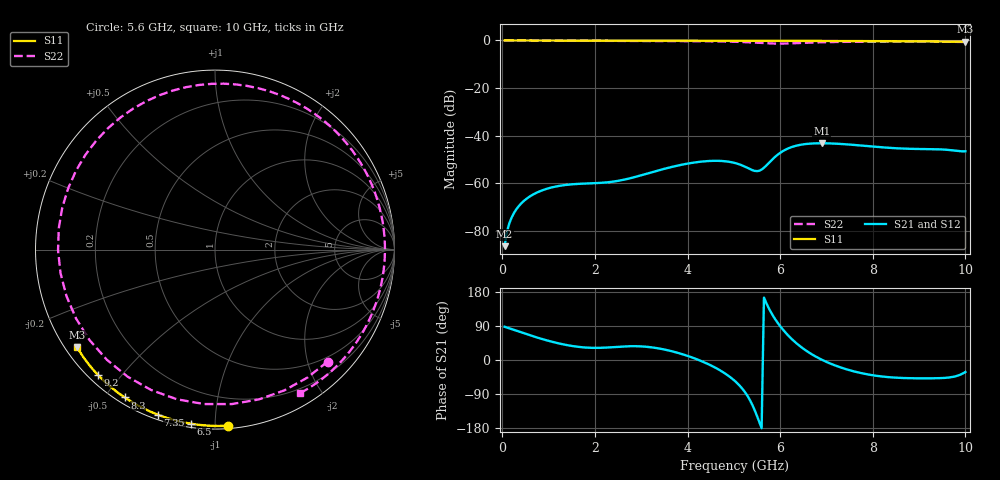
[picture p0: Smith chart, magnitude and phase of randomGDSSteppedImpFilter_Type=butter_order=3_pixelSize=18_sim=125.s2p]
! freq	dB(S11)	phase(S11)	dB(S12)	phase(S12)
!  dB(S21)	phase(S21)	dB(S22)	phase(S22)
!S-par simulation data
#  GHz  S  DB  R 50
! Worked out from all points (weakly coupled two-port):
!   200 points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, 50 MHz to 10 GHz, reference 50 ohm
!   highest |S21| = -43.21 dB at 6.9 GHz (marker M1); lowest = -86.5 dB at 50 MHz (marker M2)
!   lowest |S11| = -0.5 dB at 10 GHz (marker M3), VSWR 32.75, Z = 1.68 - j15.9 ohm
!   |S11| at or under -10 dB: nowhere
!   |S22| runs from -1.3 to 0.0 dB; largest |S21 - S12| = 0
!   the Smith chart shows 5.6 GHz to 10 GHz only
!   S11 on the Smith chart (normalised r, x): 5.6 GHz: 0.02, -1.08; 6.5 GHz: 0.02, -0.87; 7.35 GHz: 0.02, -0.71; 8.3 GHz: 0.02, -0.56; 9.2 GHz: 0.03, -0.43; 10 GHz: 0.03, -0.32
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0.05  -0.00 -0.8  -86.46 87.7  -86.46 87.7  -0.00 -3.5
0.35  -0.01 -5.8  -69.77 75.2  -69.77 75.2  -0.04 -24.2
0.65  -0.01 -10.7  -64.91 63.1  -64.91 63.1  -0.06 -44.4
1.2  -0.02 -19.6  -61.22 44.4  -61.22 44.4  -0.10 -79.9
1.75  -0.04 -28.4  -60.18 33.3  -60.18 33.3  -0.13 -112.8
2.6  -0.05 -41.8  -58.63 35.6  -58.63 35.6  -0.17 -159.9
3.4  -0.07 -54.0  -54.46 30.1  -54.46 30.1  -0.21 156.4
4.4  -0.10 -68.8  -50.74 -8.3  -50.74 -8.3  -0.33 93.6
5.05  -0.12 -78.0  -51.64 -58.4  -51.64 -58.4  -0.56 35.2
5.35  -0.13 -82.2  -54.08 -106.5  -54.08 -106.5  -0.79 -3.4
5.6  -0.14 -85.7  -54.26 -180.0  -54.26 -180.0  -1.06 -44.8
5.8  -0.15 -88.4  -50.60 126.3  -50.60 126.3  -1.25 -83.7
5.95  -0.16 -90.5  -47.97 97.5  -47.97 97.5  -1.32 -114.4
6.2  -0.17 -93.9  -45.15 61.4  -45.15 61.4  -1.24 -162.7
6.5  -0.18 -97.9  -43.66 29.9  -43.66 29.9  -1.01 150.4
6.7  -0.19 -100.6  -43.30 13.9  -43.30 13.9  -0.87 125.6
6.9  -0.21 -103.2  -43.21 0.7  -43.21 0.7  -0.75 104.8
7.35  -0.24 -109.1  -43.55 -21.4  -43.55 -21.4  -0.59 67.7
8.3  -0.31 -121.4  -45.05 -44.8  -45.05 -44.8  -0.48 11.5
8.35  -0.31 -122.1  -45.12 -45.3  -45.12 -45.3  -0.48 9.0
9.2  -0.40 -133.2  -45.66 -48.4  -45.66 -48.4  -0.51 -28.6
10  -0.53 -144.7  -46.58 -31.7  -46.58 -31.7  -0.63 -59.5
